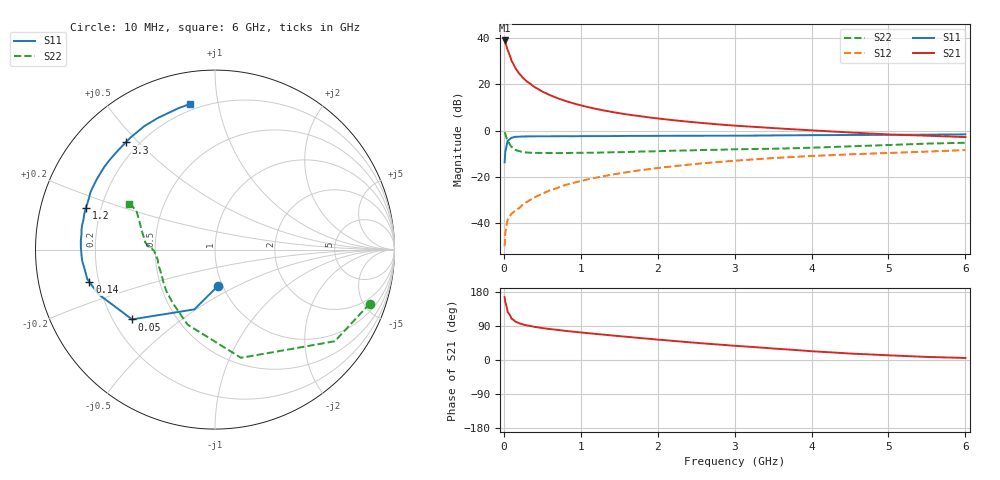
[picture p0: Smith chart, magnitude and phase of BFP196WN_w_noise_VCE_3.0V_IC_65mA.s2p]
! Infineon Technologies  Discrete & RF Semiconductors
! BFP196WN
! VCE =  3.0 V,  IC =  65 mA
! Common Emitter S-Parameters:  Jan 2017
# GHz  S  MA  R  50
!  f  S11  S21  S12  S22
! GHz  MAG  ANG  MAG  ANG  MAG  ANG  MAG  ANG
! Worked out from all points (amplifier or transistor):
!   77 points, 10 MHz to 6 GHz, reference 50 ohm
!   highest |S21| = 39.1 dB at 10 MHz (marker M1)
!   |S21| within 3 dB of that: start of sweep to 38.68 MHz
!   unconditionally stable (mu >= 1): 542.9 MHz to 2.702 GHz
!   at 130 MHz: K = 0.64, MSG = 31.9 dB, |S12| = -35.2 dB
!   at 2.2 GHz: K = 1.02, MAG = 9.2 dB, |S12| = -15.5 dB
!   at 6 GHz: K = 0.92, MSG = 2.8 dB, |S12| = -8.5 dB
!   lowest NFmin = 1.43 dB at 450 MHz
!   S11 on the Smith chart (normalised r, x): 10 MHz: 0.95, -0.40; 50 MHz: 0.28, -0.34; 140 MHz: 0.16, -0.12; 1.2 GHz: 0.14, +0.16; 3.3 GHz: 0.15, +0.46; 6 GHz: 0.16, +0.83
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0.01  0.2035 -85.5  89.71 165.8  0.0031 79.9  0.9134 -19.2
0.02  0.3521 -109.0  80.5 151.8  0.0061 72.3  0.8405 -37.4
0.05  0.6037 -139.9  55.76 126.2  0.0116 51.3  0.62 -76.5
0.1  0.6965 -159.2  32.48 109.0  0.0156 50.5  0.4449 -110.1
0.14  0.7224 -165.5  24.54 103.4  0.0178 53.4  0.3892 -124.2
0.15  0.7302 -167.0  22.61 101.4  0.0184 54.0  0.3796 -128.3
0.2  0.735 -171.9  17.16 96.9  0.0208 57.7  0.3566 -139.4
0.25  0.7422 -174.9  13.81 93.7  0.025 60.6  0.3424 -146.4
0.3  0.7441 -177.3  11.58 91.3  0.0283 62.6  0.3328 -152.1
0.4  0.7476 178.9  8.737 87.3  0.0354 66.2  0.3268 -158.5
0.5  0.7492 176.1  6.996 84.3  0.0427 68.2  0.3266 -163.3
0.7  0.7519 171.5  5.008 79.4  0.0571 70.1  0.3235 -169.2
0.9  0.7514 167.3  3.893 74.7  0.0729 70.0  0.3273 -172.4
1.1  0.7556 163.7  3.199 70.7  0.0879 69.5  0.3293 -175.1
1.2  0.7566 162.0  2.939 68.7  0.0948 69.1  0.3299 -176.0
1.6  0.7632 155.5  2.235 61.2  0.1245 66.9  0.3408 -179.1
2.1  0.7667 147.6  1.75 52.2  0.1605 63.1  0.3601 178.0
3.1  0.7736 132.7  1.245 36.2  0.227 54.4  0.3936 173.1
3.3  0.7768 129.8  1.186 33.4  0.2396 52.6  0.3979 171.7
4.1  0.7933 118.5  0.987 22.0  0.2844 45.5  0.4289 163.8
5.1  0.8062 107.8  0.811 11.5  0.33 37.8  0.4914 153.8
6  0.823 99.9  0.72 5.3  0.3763 31.8  0.5416 151.7
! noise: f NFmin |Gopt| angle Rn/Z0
0.45  1.43  0.56  -176  0.05
0.9  1.55  0.58  -169  0.06
1.9  2.48  0.69  -147  0.18
2.4  3.26  0.7  -139  0.31
